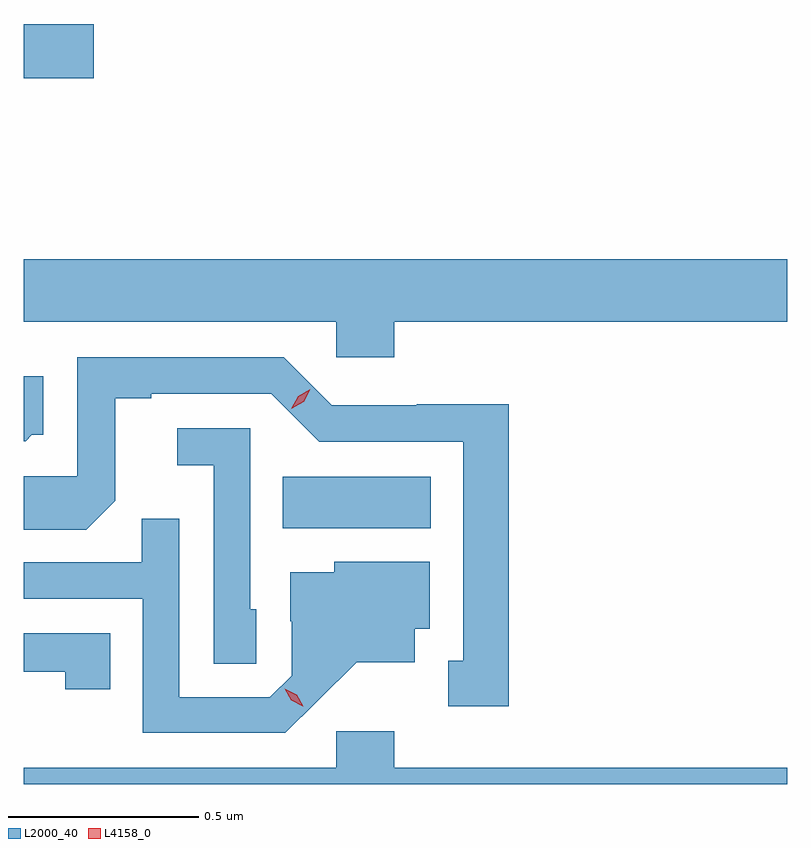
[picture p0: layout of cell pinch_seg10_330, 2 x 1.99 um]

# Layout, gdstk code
import gdstk
lib = gdstk.Library(unit=1e-6, precision=1e-09)
def R(c, l, rs):  # rectangles x0, y0, x1, y1
    for r in rs: c.add(gdstk.rectangle(r[:2], r[2:], *l))
def P(c, l, *ps):  # polygons
    for p in ps: c.add(gdstk.Polygon(p, *l))
L2000_40 = (2000, 40)
L4158_0 = (4158, 0)

pinch_seg10_330 = lib.new_cell('pinch_seg10_330')
R(pinch_seg10_330, L2000_40, [(395.998,1290.452,396.385,1290.586), (395.319,1291.63,395.503,1291.772)])
P(pinch_seg10_330, L2000_40, [(396.29,1290.992),(397.319,1290.992),(397.319,1291.156),(395.319,1291.156),(395.319,1290.992),(396.138,1290.992),(396.138,1290.899),(396.29,1290.899)],
  [(396.589,1290.776),(396.348,1290.776),(396.348,1290.774),(396.126,1290.774),(396,1290.9),(395.46,1290.9),(395.46,1290.588),(395.319,1290.588),(395.319,1290.448),(395.483,1290.448),(395.559,1290.524),(395.559,1290.792),(395.653,1290.792),(395.653,1290.804),(395.967,1290.804),(396.093,1290.678),(396.47,1290.678),(396.47,1290.105),(396.431,1290.105),(396.431,1289.985),(396.589,1289.985)],
  [(395.34,1290.696),(395.371,1290.696),(395.371,1290.85),(395.319,1290.85),(395.319,1290.68),(395.324,1290.68)],
  [(395.928,1290.24),(395.913,1290.24),(395.913,1290.714),(395.721,1290.714),(395.721,1290.617),(395.817,1290.617),(395.817,1290.097),(395.928,1290.097)],
  [(396.088,1289.999),(396.191,1290.101),(396.343,1290.101),(396.343,1290.188),(396.382,1290.188),(396.382,1290.364),(396.132,1290.364),(396.132,1290.337),(396.017,1290.337),(396.017,1290.208),(396.021,1290.208),(396.021,1290.066),(395.964,1290.009),(395.727,1290.009),(395.727,1290.476),(395.629,1290.476),(395.629,1290.363),(395.319,1290.363),(395.319,1290.267),(395.631,1290.267),(395.631,1289.916),(396.004,1289.916)],
  [(395.546,1290.177),(395.319,1290.177),(395.319,1290.076),(395.428,1290.076),(395.428,1290.03),(395.546,1290.03)],
  [(397.319,1289.824),(396.29,1289.824),(396.29,1289.92),(396.138,1289.92),(396.138,1289.824),(395.319,1289.824),(395.319,1289.782),(397.319,1289.782)])
P(pinch_seg10_330, L4158_0, [(396.02,1290.764),(396.02,1290.765),(396.038,1290.797),(396.069,1290.816),(396.07,1290.816),(396.07,1290.815),(396.052,1290.783),(396.02,1290.764)],
  [(396.05,1289.985),(396.02,1290.001),(396.003,1290.031),(396.003,1290.032),(396.003,1290.032),(396.034,1290.016),(396.051,1289.986),(396.051,1289.985)])

lib.write_gds('pinch_seg10_330.gds')
